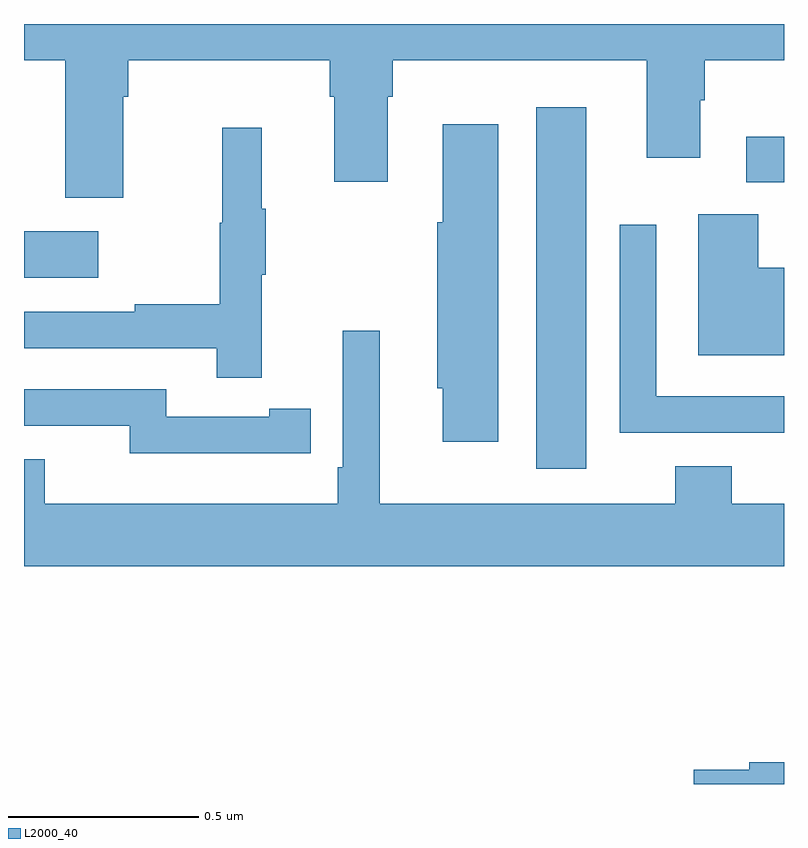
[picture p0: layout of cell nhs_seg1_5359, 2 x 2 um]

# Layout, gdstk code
import gdstk
lib = gdstk.Library(unit=1e-6, precision=1e-09)
def R(c, l, rs):  # rectangles x0, y0, x1, y1
    for r in rs: c.add(gdstk.rectangle(r[:2], r[2:], *l))
def P(c, l, *ps):  # polygons
    for p in ps: c.add(gdstk.Polygon(p, *l))
L2000_40 = (2000, 40)

nhs_seg1_5359 = lib.new_cell('nhs_seg1_5359')
R(nhs_seg1_5359, L2000_40, [(179.348,512.028,179.479,512.98), (178,512.531,178.195,512.653), (179.901,512.783,180,512.902)])
P(nhs_seg1_5359, L2000_40, [(178.261,513.008),(178.274,513.008),(178.274,513.104),(178.805,513.104),(178.805,513.008),(178.817,513.008),(178.817,512.784),(178.957,512.784),(178.957,513.008),(178.97,513.008),(178.97,513.104),(179.639,513.104),(179.639,512.847),(179.779,512.847),(179.779,512.998),(179.792,512.998),(179.792,513.104),(180,513.104),(180,513.199),(178,513.199),(178,513.104),(178.109,513.104),(178.109,512.742),(178.261,512.742)],
  [(179.248,512.935),(179.102,512.935),(179.102,512.677),(179.087,512.677),(179.087,512.241),(179.102,512.241),(179.102,512.1),(179.248,512.1)],
  [(178.625,512.539),(178.636,512.539),(178.636,512.713),(178.625,512.713),(178.625,512.926),(178.522,512.926),(178.522,512.676),(178.515,512.676),(178.515,512.462),(178.291,512.462),(178.291,512.442),(178,512.442),(178,512.346),(178.507,512.346),(178.507,512.268),(178.625,512.268)],
  [(180,512.557),(179.932,512.557),(179.932,512.698),(179.774,512.698),(179.774,512.327),(180,512.327)],
  [(180,512.22),(179.664,512.22),(179.664,512.671),(179.568,512.671),(179.568,512.124),(179.95,512.124),(179.95,512.123),(180,512.123)],
  [(180,511.936),(179.862,511.936),(179.862,512.035),(179.714,512.035),(179.714,511.936),(178.936,511.936),(178.936,512.392),(178.839,512.392),(178.839,512.032),(178.826,512.032),(178.826,511.936),(178.054,511.936),(178.054,512.053),(178,512.053),(178,511.772),(180,511.772)],
  [(178.646,512.07),(178.754,512.07),(178.754,512.186),(178.646,512.186),(178.646,512.166),(178.374,512.166),(178.374,512.238),(178,512.238),(178,512.142),(178.278,512.142),(178.278,512.069),(178.646,512.069)],
  [(180,511.256),(179.908,511.256),(179.908,511.236),(179.762,511.236),(179.762,511.199),(180,511.199)])

lib.write_gds('nhs_seg1_5359.gds')
